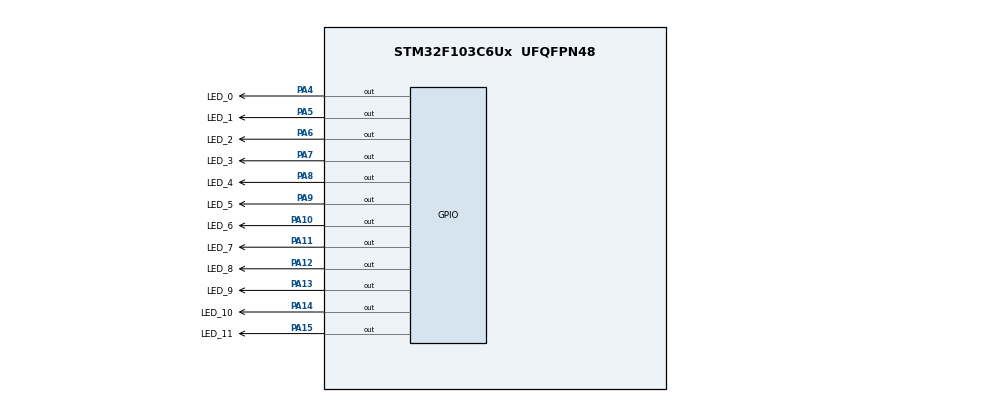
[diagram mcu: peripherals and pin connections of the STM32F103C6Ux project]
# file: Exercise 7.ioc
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Mcu.Family=STM32F1
Mcu.Name=STM32F103C6Ux
Mcu.Package=UFQFPN48
NVIC.PriorityGroup=NVIC_PRIORITYGROUP_4
PA10.GPIO_Label=LED_6
PA10.Signal=GPIO_Output
PA11.GPIO_Label=LED_7
PA11.Signal=GPIO_Output
PA12.GPIO_Label=LED_8
PA12.Signal=GPIO_Output
PA13.GPIO_Label=LED_9
PA13.Signal=GPIO_Output
PA14.GPIO_Label=LED_10
PA14.Signal=GPIO_Output
PA15.GPIO_Label=LED_11
PA15.Signal=GPIO_Output
PA4.GPIO_Label=LED_0
PA4.Signal=GPIO_Output
PA5.GPIO_Label=LED_1
PA5.Signal=GPIO_Output
PA6.GPIO_Label=LED_2
PA6.Signal=GPIO_Output
PA7.GPIO_Label=LED_3
PA7.Signal=GPIO_Output
PA8.GPIO_Label=LED_4
PA8.Signal=GPIO_Output
PA9.GPIO_Label=LED_5
PA9.Signal=GPIO_Output
ProjectManager.HeapSize=0x200
ProjectManager.StackSize=0x400
ProjectManager.TargetToolchain=STM32CubeIDE
RCC.APB1Freq_Value=8000000
RCC.APB2Freq_Value=8000000
VP_SYS_VS_ND.Mode=No_Debug
board=custom

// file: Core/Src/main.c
/* USER CODE BEGIN Header */
/**
  ******************************************************************************
  * @file           : main.c
  * @brief          : Main program body
  ******************************************************************************
  * @attention
  *
  * <h2><center>&copy; Copyright (c) 2022 STMicroelectronics.
  * All rights reserved.</center></h2>
  *
  * This software component is licensed by ST under BSD 3-Clause license,
  * the "License"; You may not use this file except in compliance with the
  * License. You may obtain a copy of the License at:
  *                        opensource.org/licenses/BSD-3-Clause
  *
  ******************************************************************************
  */
/* USER CODE END Header */
#include "main.h"

void SystemClock_Config(void);
static void MX_GPIO_Init(void);

/* USER CODE BEGIN 0 */

void display_analog_clock(int num){ // This funtion gets from Exercise 6 for testing
	switch(num){
		case 0 :{ // Turn on LED 0
			HAL_GPIO_WritePin(LED_0_GPIO_Port, LED_0_Pin, GPIO_PIN_RESET);
			HAL_GPIO_WritePin(LED_1_GPIO_Port, LED_1_Pin, GPIO_PIN_SET);
			HAL_GPIO_WritePin(LED_2_GPIO_Port, LED_2_Pin, GPIO_PIN_SET);
			HAL_GPIO_WritePin(LED_3_GPIO_Port, LED_3_Pin, GPIO_PIN_SET);
			HAL_GPIO_WritePin(LED_4_GPIO_Port, LED_4_Pin, GPIO_PIN_SET);
			HAL_GPIO_WritePin(LED_5_GPIO_Port, LED_5_Pin, GPIO_PIN_SET);
			HAL_GPIO_WritePin(LED_6_GPIO_Port, LED_6_Pin, GPIO_PIN_SET);
			HAL_GPIO_WritePin(LED_7_GPIO_Port, LED_7_Pin, GPIO_PIN_SET);
			HAL_GPIO_WritePin(LED_8_GPIO_Port, LED_8_Pin, GPIO_PIN_SET);
			HAL_GPIO_WritePin(LED_9_GPIO_Port, LED_9_Pin, GPIO_PIN_SET);
			HAL_GPIO_WritePin(LED_10_GPIO_Port, LED_10_Pin, GPIO_PIN_SET);
			HAL_GPIO_WritePin(LED_11_GPIO_Port, LED_11_Pin, GPIO_PIN_SET);
			break;
		}
		case 1 :{ // Turn on LED 1
			HAL_GPIO_WritePin(LED_0_GPIO_Port, LED_0_Pin, GPIO_PIN_SET);
			HAL_GPIO_WritePin(LED_1_GPIO_Port, LED_1_Pin, GPIO_PIN_RESET);
			HAL_GPIO_WritePin(LED_2_GPIO_Port, LED_2_Pin, GPIO_PIN_SET);
			HAL_GPIO_WritePin(LED_3_GPIO_Port, LED_3_Pin, GPIO_PIN_SET);
			HAL_GPIO_WritePin(LED_4_GPIO_Port, LED_4_Pin, GPIO_PIN_SET);
			HAL_GPIO_WritePin(LED_5_GPIO_Port, LED_5_Pin, GPIO_PIN_SET);
			HAL_GPIO_WritePin(LED_6_GPIO_Port, LED_6_Pin, GPIO_PIN_SET);
			HAL_GPIO_WritePin(LED_7_GPIO_Port, LED_7_Pin, GPIO_PIN_SET);
			HAL_GPIO_WritePin(LED_8_GPIO_Port, LED_8_Pin, GPIO_PIN_SET);
			HAL_GPIO_WritePin(LED_9_GPIO_Port, LED_9_Pin, GPIO_PIN_SET);
			HAL_GPIO_WritePin(LED_10_GPIO_Port, LED_10_Pin, GPIO_PIN_SET);
			HAL_GPIO_WritePin(LED_11_GPIO_Port, LED_11_Pin, GPIO_PIN_SET);
			break;
		}
		case 2 :{ // Turn on LED 2
			HAL_GPIO_WritePin(LED_0_GPIO_Port, LED_0_Pin, GPIO_PIN_SET);
			HAL_GPIO_WritePin(LED_1_GPIO_Port, LED_1_Pin, GPIO_PIN_SET);
			HAL_GPIO_WritePin(LED_2_GPIO_Port, LED_2_Pin, GPIO_PIN_RESET);
			HAL_GPIO_WritePin(LED_3_GPIO_Port, LED_3_Pin, GPIO_PIN_SET);
			HAL_GPIO_WritePin(LED_4_GPIO_Port, LED_4_Pin, GPIO_PIN_SET);
			HAL_GPIO_WritePin(LED_5_GPIO_Port, LED_5_Pin, GPIO_PIN_SET);
			HAL_GPIO_WritePin(LED_6_GPIO_Port, LED_6_Pin, GPIO_PIN_SET);
			HAL_GPIO_WritePin(LED_7_GPIO_Port, LED_7_Pin, GPIO_PIN_SET);
			HAL_GPIO_WritePin(LED_8_GPIO_Port, LED_8_Pin, GPIO_PIN_SET);
			HAL_GPIO_WritePin(LED_9_GPIO_Port, LED_9_Pin, GPIO_PIN_SET);
			HAL_GPIO_WritePin(LED_10_GPIO_Port, LED_10_Pin, GPIO_PIN_SET);
			HAL_GPIO_WritePin(LED_11_GPIO_Port, LED_11_Pin, GPIO_PIN_SET);
			break;
		}
		case 3 :{ // Turn on LED 3
			HAL_GPIO_WritePin(LED_0_GPIO_Port, LED_0_Pin, GPIO_PIN_SET);
			HAL_GPIO_WritePin(LED_1_GPIO_Port, LED_1_Pin, GPIO_PIN_SET);
			HAL_GPIO_WritePin(LED_2_GPIO_Port, LED_2_Pin, GPIO_PIN_SET);
			HAL_GPIO_WritePin(LED_3_GPIO_Port, LED_3_Pin, GPIO_PIN_RESET);
			HAL_GPIO_WritePin(LED_4_GPIO_Port, LED_4_Pin, GPIO_PIN_SET);
			HAL_GPIO_WritePin(LED_5_GPIO_Port, LED_5_Pin, GPIO_PIN_SET);
			HAL_GPIO_WritePin(LED_6_GPIO_Port, LED_6_Pin, GPIO_PIN_SET);
			HAL_GPIO_WritePin(LED_7_GPIO_Port, LED_7_Pin, GPIO_PIN_SET);
			HAL_GPIO_WritePin(LED_8_GPIO_Port, LED_8_Pin, GPIO_PIN_SET);
			HAL_GPIO_WritePin(LED_9_GPIO_Port, LED_9_Pin, GPIO_PIN_SET);
			HAL_GPIO_WritePin(LED_10_GPIO_Port, LED_10_Pin, GPIO_PIN_SET);
			HAL_GPIO_WritePin(LED_11_GPIO_Port, LED_11_Pin, GPIO_PIN_SET);
			break;
		}
		case 4 :{ // Turn on LED 4
			HAL_GPIO_WritePin(LED_0_GPIO_Port, LED_0_Pin, GPIO_PIN_SET);
			HAL_GPIO_WritePin(LED_1_GPIO_Port, LED_1_Pin, GPIO_PIN_SET);
			HAL_GPIO_WritePin(LED_2_GPIO_Port, LED_2_Pin, GPIO_PIN_SET);
			HAL_GPIO_WritePin(LED_3_GPIO_Port, LED_3_Pin, GPIO_PIN_SET);
			HAL_GPIO_WritePin(LED_4_GPIO_Port, LED_4_Pin, GPIO_PIN_RESET);
			HAL_GPIO_WritePin(LED_5_GPIO_Port, LED_5_Pin, GPIO_PIN_SET);
			HAL_GPIO_WritePin(LED_6_GPIO_Port, LED_6_Pin, GPIO_PIN_SET);
			HAL_GPIO_WritePin(LED_7_GPIO_Port, LED_7_Pin, GPIO_PIN_SET);
			HAL_GPIO_WritePin(LED_8_GPIO_Port, LED_8_Pin, GPIO_PIN_SET);
			HAL_GPIO_WritePin(LED_9_GPIO_Port, LED_9_Pin, GPIO_PIN_SET);
			HAL_GPIO_WritePin(LED_10_GPIO_Port, LED_10_Pin, GPIO_PIN_SET);
			HAL_GPIO_WritePin(LED_11_GPIO_Port, LED_11_Pin, GPIO_PIN_SET);
			break;
		}
		case 5 :{ // Turn on LED 5
			HAL_GPIO_WritePin(LED_0_GPIO_Port, LED_0_Pin, GPIO_PIN_SET);
			HAL_GPIO_WritePin(LED_1_GPIO_Port, LED_1_Pin, GPIO_PIN_SET);
			HAL_GPIO_WritePin(LED_2_GPIO_Port, LED_2_Pin, GPIO_PIN_SET);
			HAL_GPIO_WritePin(LED_3_GPIO_Port, LED_3_Pin, GPIO_PIN_SET);
			HAL_GPIO_WritePin(LED_4_GPIO_Port, LED_4_Pin, GPIO_PIN_SET);
			HAL_GPIO_WritePin(LED_5_GPIO_Port, LED_5_Pin, GPIO_PIN_RESET);
			HAL_GPIO_WritePin(LED_6_GPIO_Port, LED_6_Pin, GPIO_PIN_SET);
			HAL_GPIO_WritePin(LED_7_GPIO_Port, LED_7_Pin, GPIO_PIN_SET);
			HAL_GPIO_WritePin(LED_8_GPIO_Port, LED_8_Pin, GPIO_PIN_SET);
			HAL_GPIO_WritePin(LED_9_GPIO_Port, LED_9_Pin, GPIO_PIN_SET);
			HAL_GPIO_WritePin(LED_10_GPIO_Port, LED_10_Pin, GPIO_PIN_SET);
			HAL_GPIO_WritePin(LED_11_GPIO_Port, LED_11_Pin, GPIO_PIN_SET);
			break;
		}
		case 6 :{ // Turn on LED 6
			HAL_GPIO_WritePin(LED_0_GPIO_Port, LED_0_Pin, GPIO_PIN_SET);
			HAL_GPIO_WritePin(LED_1_GPIO_Port, LED_1_Pin, GPIO_PIN_SET);
			HAL_GPIO_WritePin(LED_2_GPIO_Port, LED_2_Pin, GPIO_PIN_SET);
			HAL_GPIO_WritePin(LED_3_GPIO_Port, LED_3_Pin, GPIO_PIN_SET);
			HAL_GPIO_WritePin(LED_4_GPIO_Port, LED_4_Pin, GPIO_PIN_SET);
			HAL_GPIO_WritePin(LED_5_GPIO_Port, LED_5_Pin, GPIO_PIN_SET);
			HAL_GPIO_WritePin(LED_6_GPIO_Port, LED_6_Pin, GPIO_PIN_RESET);
			HAL_GPIO_WritePin(LED_7_GPIO_Port, LED_7_Pin, GPIO_PIN_SET);
			HAL_GPIO_WritePin(LED_8_GPIO_Port, LED_8_Pin, GPIO_PIN_SET);
			HAL_GPIO_WritePin(LED_9_GPIO_Port, LED_9_Pin, GPIO_PIN_SET);
			HAL_GPIO_WritePin(LED_10_GPIO_Port, LED_10_Pin, GPIO_PIN_SET);
			HAL_GPIO_WritePin(LED_11_GPIO_Port, LED_11_Pin, GPIO_PIN_SET);
			break;
		}
		case 7 :{ // Turn on LED 7
			HAL_GPIO_WritePin(LED_0_GPIO_Port, LED_0_Pin, GPIO_PIN_SET);
			HAL_GPIO_WritePin(LED_1_GPIO_Port, LED_1_Pin, GPIO_PIN_SET);
			HAL_GPIO_WritePin(LED_2_GPIO_Port, LED_2_Pin, GPIO_PIN_SET);
			HAL_GPIO_WritePin(LED_3_GPIO_Port, LED_3_Pin, GPIO_PIN_SET);
			HAL_GPIO_WritePin(LED_4_GPIO_Port, LED_4_Pin, GPIO_PIN_SET);
			HAL_GPIO_WritePin(LED_5_GPIO_Port, LED_5_Pin, GPIO_PIN_SET);
			HAL_GPIO_WritePin(LED_6_GPIO_Port, LED_6_Pin, GPIO_PIN_SET);
			HAL_GPIO_WritePin(LED_7_GPIO_Port, LED_7_Pin, GPIO_PIN_RESET);
			HAL_GPIO_WritePin(LED_8_GPIO_Port, LED_8_Pin, GPIO_PIN_SET);
			HAL_GPIO_WritePin(LED_9_GPIO_Port, LED_9_Pin, GPIO_PIN_SET);
			HAL_GPIO_WritePin(LED_10_GPIO_Port, LED_10_Pin, GPIO_PIN_SET);
			HAL_GPIO_WritePin(LED_11_GPIO_Port, LED_11_Pin, GPIO_PIN_SET);
			break;
		}
		case 8 :{ // Turn on LED 8
			HAL_GPIO_WritePin(LED_0_GPIO_Port, LED_0_Pin, GPIO_PIN_SET);
			HAL_GPIO_WritePin(LED_1_GPIO_Port, LED_1_Pin, GPIO_PIN_SET);
			HAL_GPIO_WritePin(LED_2_GPIO_Port, LED_2_Pin, GPIO_PIN_SET);
			HAL_GPIO_WritePin(LED_3_GPIO_Port, LED_3_Pin, GPIO_PIN_SET);
			HAL_GPIO_WritePin(LED_4_GPIO_Port, LED_4_Pin, GPIO_PIN_SET);
			HAL_GPIO_WritePin(LED_5_GPIO_Port, LED_5_Pin, GPIO_PIN_SET);
			HAL_GPIO_WritePin(LED_6_GPIO_Port, LED_6_Pin, GPIO_PIN_SET);
			HAL_GPIO_WritePin(LED_7_GPIO_Port, LED_7_Pin, GPIO_PIN_SET);
			HAL_GPIO_WritePin(LED_8_GPIO_Port, LED_8_Pin, GPIO_PIN_RESET);
			HAL_GPIO_WritePin(LED_9_GPIO_Port, LED_9_Pin, GPIO_PIN_SET);
			HAL_GPIO_WritePin(LED_10_GPIO_Port, LED_10_Pin, GPIO_PIN_SET);
			HAL_GPIO_WritePin(LED_11_GPIO_Port, LED_11_Pin, GPIO_PIN_SET);
			break;
		}
		case 9 :{ // Turn on LED 9
			HAL_GPIO_WritePin(LED_0_GPIO_Port, LED_0_Pin, GPIO_PIN_SET);
			HAL_GPIO_WritePin(LED_1_GPIO_Port, LED_1_Pin, GPIO_PIN_SET);
			HAL_GPIO_WritePin(LED_2_GPIO_Port, LED_2_Pin, GPIO_PIN_SET);
			HAL_GPIO_WritePin(LED_3_GPIO_Port, LED_3_Pin, GPIO_PIN_SET);
			HAL_GPIO_WritePin(LED_4_GPIO_Port, LED_4_Pin, GPIO_PIN_SET);
			HAL_GPIO_WritePin(LED_5_GPIO_Port, LED_5_Pin, GPIO_PIN_SET);
			HAL_GPIO_WritePin(LED_6_GPIO_Port, LED_6_Pin, GPIO_PIN_SET);
			HAL_GPIO_WritePin(LED_7_GPIO_Port, LED_7_Pin, GPIO_PIN_SET);
			HAL_GPIO_WritePin(LED_8_GPIO_Port, LED_8_Pin, GPIO_PIN_SET);
			HAL_GPIO_WritePin(LED_9_GPIO_Port, LED_9_Pin, GPIO_PIN_RESET);
			HAL_GPIO_WritePin(LED_10_GPIO_Port, LED_10_Pin, GPIO_PIN_SET);
			HAL_GPIO_WritePin(LED_11_GPIO_Port, LED_11_Pin, GPIO_PIN_SET);
			break;
		}
		case 10 :{ // Turn on LED 10
			HAL_GPIO_WritePin(LED_0_GPIO_Port, LED_0_Pin, GPIO_PIN_SET);
			HAL_GPIO_WritePin(LED_1_GPIO_Port, LED_1_Pin, GPIO_PIN_SET);
			HAL_GPIO_WritePin(LED_2_GPIO_Port, LED_2_Pin, GPIO_PIN_SET);
			HAL_GPIO_WritePin(LED_3_GPIO_Port, LED_3_Pin, GPIO_PIN_SET);
			HAL_GPIO_WritePin(LED_4_GPIO_Port, LED_4_Pin, GPIO_PIN_SET);
			HAL_GPIO_WritePin(LED_5_GPIO_Port, LED_5_Pin, GPIO_PIN_SET);
			HAL_GPIO_WritePin(LED_6_GPIO_Port, LED_6_Pin, GPIO_PIN_SET);
			HAL_GPIO_WritePin(LED_7_GPIO_Port, LED_7_Pin, GPIO_PIN_SET);
			HAL_GPIO_WritePin(LED_8_GPIO_Port, LED_8_Pin, GPIO_PIN_SET);
			HAL_GPIO_WritePin(LED_9_GPIO_Port, LED_9_Pin, GPIO_PIN_SET);
			HAL_GPIO_WritePin(LED_10_GPIO_Port, LED_10_Pin, GPIO_PIN_RESET);
			HAL_GPIO_WritePin(LED_11_GPIO_Port, LED_11_Pin, GPIO_PIN_SET);
			break;
		}
		case 11 :{ // Turn on LED 11
			HAL_GPIO_WritePin(LED_0_GPIO_Port, LED_0_Pin, GPIO_PIN_SET);
			HAL_GPIO_WritePin(LED_1_GPIO_Port, LED_1_Pin, GPIO_PIN_SET);
			HAL_GPIO_WritePin(LED_2_GPIO_Port, LED_2_Pin, GPIO_PIN_SET);
			HAL_GPIO_WritePin(LED_3_GPIO_Port, LED_3_Pin, GPIO_PIN_SET);
			HAL_GPIO_WritePin(LED_4_GPIO_Port, LED_4_Pin, GPIO_PIN_SET);
			HAL_GPIO_WritePin(LED_5_GPIO_Port, LED_5_Pin, GPIO_PIN_SET);
			HAL_GPIO_WritePin(LED_6_GPIO_Port, LED_6_Pin, GPIO_PIN_SET);
			HAL_GPIO_WritePin(LED_7_GPIO_Port, LED_7_Pin, GPIO_PIN_SET);
			HAL_GPIO_WritePin(LED_8_GPIO_Port, LED_8_Pin, GPIO_PIN_SET);
			HAL_GPIO_WritePin(LED_9_GPIO_Port, LED_9_Pin, GPIO_PIN_SET);
			HAL_GPIO_WritePin(LED_10_GPIO_Port, LED_10_Pin, GPIO_PIN_SET);
			HAL_GPIO_WritePin(LED_11_GPIO_Port, LED_11_Pin, GPIO_PIN_RESET);
			break;
		}
	}
}

void clearAllClock (){
	HAL_GPIO_WritePin(LED_0_GPIO_Port, LED_0_Pin, GPIO_PIN_SET);
	HAL_GPIO_WritePin(LED_1_GPIO_Port, LED_1_Pin, GPIO_PIN_SET);
	HAL_GPIO_WritePin(LED_2_GPIO_Port, LED_2_Pin, GPIO_PIN_SET);
	HAL_GPIO_WritePin(LED_3_GPIO_Port, LED_3_Pin, GPIO_PIN_SET);
	HAL_GPIO_WritePin(LED_4_GPIO_Port, LED_4_Pin, GPIO_PIN_SET);
	HAL_GPIO_WritePin(LED_5_GPIO_Port, LED_5_Pin, GPIO_PIN_SET);
	HAL_GPIO_WritePin(LED_6_GPIO_Port, LED_6_Pin, GPIO_PIN_SET);
	HAL_GPIO_WritePin(LED_7_GPIO_Port, LED_7_Pin, GPIO_PIN_SET);
	HAL_GPIO_WritePin(LED_8_GPIO_Port, LED_8_Pin, GPIO_PIN_SET);
	HAL_GPIO_WritePin(LED_9_GPIO_Port, LED_9_Pin, GPIO_PIN_SET);
	HAL_GPIO_WritePin(LED_10_GPIO_Port, LED_10_Pin, GPIO_PIN_SET);
	HAL_GPIO_WritePin(LED_11_GPIO_Port, LED_11_Pin, GPIO_PIN_SET);
}
/* USER CODE END 0 */

int main(void)
{

  /* MCU Configuration--------------------------------------------------------*/

  /* Reset of all peripherals, Initializes the Flash interface and the Systick. */
  HAL_Init();

  /* Configure the system clock */
  SystemClock_Config();

  /* Initialize all configured peripherals */
  MX_GPIO_Init();
  /* USER CODE BEGIN 2 */

  //int counter = 0;

  /* USER CODE END 2 */

  /* Infinite loop */
  /* USER CODE BEGIN WHILE */
  while (1)
  {
	  // A simple program to test
	  	display_analog_clock(0) ;
	    HAL_Delay(2000);
	    display_analog_clock(3) ;
	    HAL_Delay(2000);
	    display_analog_clock(6) ;
	    HAL_Delay(2000);
	    clearAllClock();
	    HAL_Delay(4000);
	  //
    /* USER CODE END WHILE */

  }
}

void SystemClock_Config(void)
{
  RCC_OscInitTypeDef RCC_OscInitStruct = {0};
  RCC_ClkInitTypeDef RCC_ClkInitStruct = {0};

  /** Initializes the RCC Oscillators according to the specified parameters
  * in the RCC_OscInitTypeDef structure.
  */
  RCC_OscInitStruct.OscillatorType = RCC_OSCILLATORTYPE_HSI;
  RCC_OscInitStruct.HSIState = RCC_HSI_ON;
  RCC_OscInitStruct.HSICalibrationValue = RCC_HSICALIBRATION_DEFAULT;
  RCC_OscInitStruct.PLL.PLLState = RCC_PLL_NONE;
  if (HAL_RCC_OscConfig(&RCC_OscInitStruct) != HAL_OK)
  {
    Error_Handler();
  }
  /** Initializes the CPU, AHB and APB buses clocks
  */
  RCC_ClkInitStruct.ClockType = RCC_CLOCKTYPE_HCLK|RCC_CLOCKTYPE_SYSCLK
                              |RCC_CLOCKTYPE_PCLK1|RCC_CLOCKTYPE_PCLK2;
  RCC_ClkInitStruct.SYSCLKSource = RCC_SYSCLKSOURCE_HSI;
  RCC_ClkInitStruct.AHBCLKDivider = RCC_SYSCLK_DIV1;
  RCC_ClkInitStruct.APB1CLKDivider = RCC_HCLK_DIV1;
  RCC_ClkInitStruct.APB2CLKDivider = RCC_HCLK_DIV1;

  if (HAL_RCC_ClockConfig(&RCC_ClkInitStruct, FLASH_LATENCY_0) != HAL_OK)
  {
    Error_Handler();
  }
}

static void MX_GPIO_Init(void)
{
  GPIO_InitTypeDef GPIO_InitStruct = {0};

  /* GPIO Ports Clock Enable */
  __HAL_RCC_GPIOA_CLK_ENABLE();

  /*Configure GPIO pin Output Level */
  HAL_GPIO_WritePin(GPIOA, LED_0_Pin|LED_1_Pin|LED_2_Pin|LED_3_Pin
                          |LED_4_Pin|LED_5_Pin|LED_6_Pin|LED_7_Pin
                          |LED_8_Pin|LED_9_Pin|LED_10_Pin|LED_11_Pin, GPIO_PIN_RESET);

  /*Configure GPIO pins : LED_0_Pin LED_1_Pin LED_2_Pin LED_3_Pin
                           LED_4_Pin LED_5_Pin LED_6_Pin LED_7_Pin
                           LED_8_Pin LED_9_Pin LED_10_Pin LED_11_Pin */
  GPIO_InitStruct.Pin = LED_0_Pin|LED_1_Pin|LED_2_Pin|LED_3_Pin
                          |LED_4_Pin|LED_5_Pin|LED_6_Pin|LED_7_Pin
                          |LED_8_Pin|LED_9_Pin|LED_10_Pin|LED_11_Pin;
  GPIO_InitStruct.Mode = GPIO_MODE_OUTPUT_PP;
  GPIO_InitStruct.Pull = GPIO_NOPULL;
  GPIO_InitStruct.Speed = GPIO_SPEED_FREQ_LOW;
  HAL_GPIO_Init(GPIOA, &GPIO_InitStruct);

}

void Error_Handler(void)
{
  __disable_irq();
  while (1)
  {
  }
}

/************************ (C) COPYRIGHT STMicroelectronics *****END OF FILE****/
